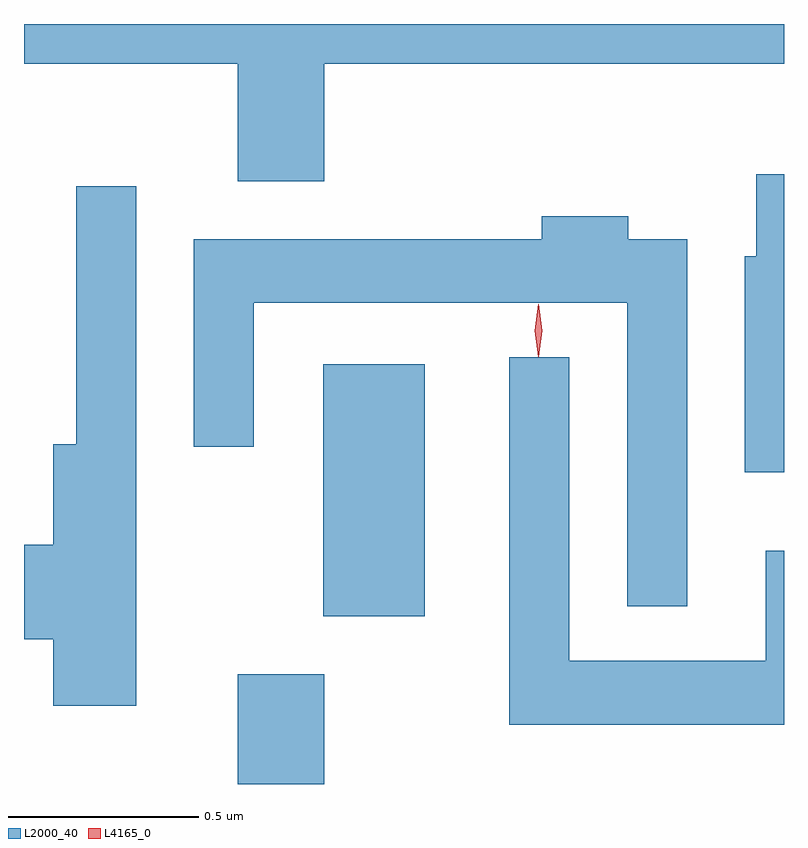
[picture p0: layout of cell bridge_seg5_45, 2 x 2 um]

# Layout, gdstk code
import gdstk
lib = gdstk.Library(unit=1e-6, precision=1e-09)
def R(c, l, rs):  # rectangles x0, y0, x1, y1
    for r in rs: c.add(gdstk.rectangle(r[:2], r[2:], *l))
def P(c, l, *ps):  # polygons
    for p in ps: c.add(gdstk.Polygon(p, *l))
L2000_40 = (2000, 40)
L4165_0 = (4165, 0)

bridge_seg5_45 = lib.new_cell('bridge_seg5_45')
R(bridge_seg5_45, L2000_40, [(1347.611,1470.44,1347.839,1470.729), (1347.836,1470.881,1348.104,1471.544)])
P(bridge_seg5_45, L2000_40, [(1347.839,1472.336),(1349.049,1472.336),(1349.049,1472.44),(1347.049,1472.44),(1347.049,1472.336),(1347.611,1472.336),(1347.611,1472.026),(1347.839,1472.026)],
  [(1349.049,1472.044),(1348.976,1472.044),(1348.976,1471.829),(1348.946,1471.829),(1348.946,1471.261),(1349.049,1471.261)],
  [(1347.344,1472.013),(1347.186,1472.013),(1347.186,1471.334),(1347.126,1471.334),(1347.126,1471.069),(1347.049,1471.069),(1347.049,1470.821),(1347.126,1470.821),(1347.126,1470.646),(1347.344,1470.646)],
  [(1348.794,1471.874),(1348.639,1471.874),(1348.639,1471.934),(1348.411,1471.934),(1348.411,1471.874),(1347.496,1471.874),(1347.496,1471.328),(1347.654,1471.328),(1347.654,1471.706),(1348.636,1471.706),(1348.636,1470.908),(1348.794,1470.908)],
  [(1349.049,1471.054),(1349.001,1471.054),(1349.001,1470.764),(1348.484,1470.764),(1348.484,1471.563),(1348.326,1471.563),(1348.326,1470.596),(1349.049,1470.596)])
P(bridge_seg5_45, L4165_0, [(1348.403,1471.563),(1348.402,1471.564),(1348.393,1471.633),(1348.402,1471.702),(1348.403,1471.703),(1348.404,1471.702),(1348.413,1471.633),(1348.404,1471.564)])

lib.write_gds('bridge_seg5_45.gds')
